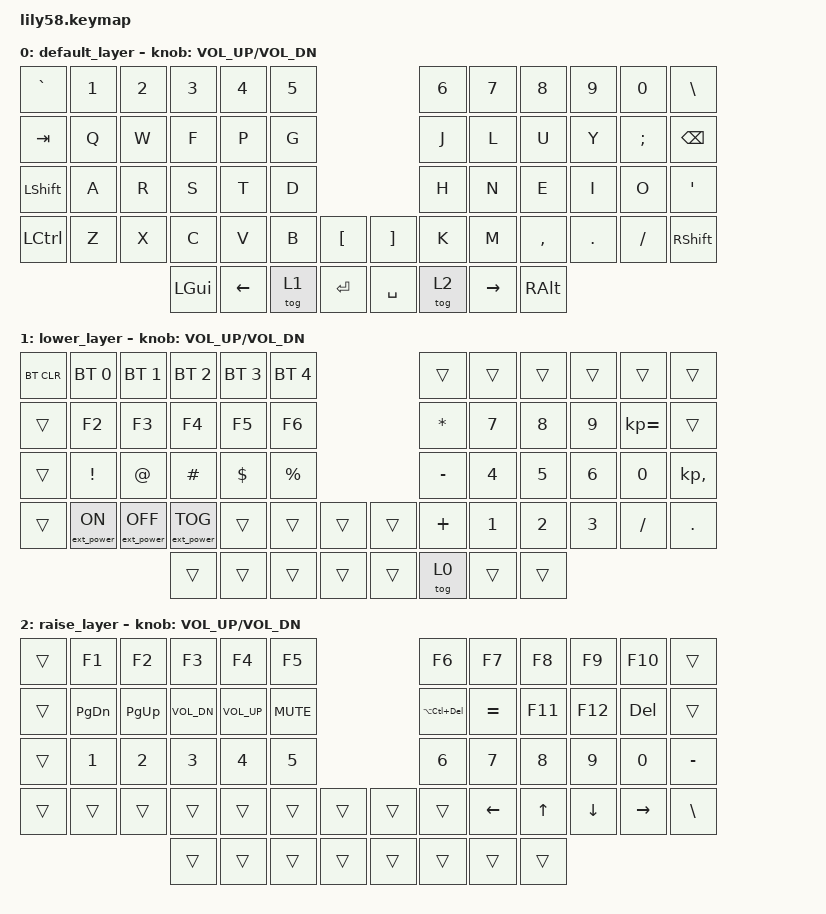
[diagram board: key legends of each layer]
/*
 * Copyright (c) 2020 The ZMK Contributors
 *
 * SPDX-License-Identifier: MIT
 */

#include <behaviors.dtsi>
#include <dt-bindings/zmk/bt.h>
#include <dt-bindings/zmk/ext_power.h>
#include <dt-bindings/zmk/keys.h>

/ {
    combos {
        compatible = "zmk,combos";

        Escape {
            bindings = <&kp ESCAPE>;
            key-positions = <12 13>;
        };

        Delete {
            bindings = <&kp DELETE>;
            key-positions = <22 23>;
        };
    };

    keymap {
        compatible = "zmk,keymap";

        default_layer {
            // ------------------------------------------------------------------------------------------------------------
            // |  ESC  |  1  |  2  |  3   |  4   |  5   |                   |  6   |  7    |  8    |  9   |   0   |   `   |
            // |  TAB  |  Q  |  W  |  E   |  R   |  T   |                   |  Y   |  U    |  I    |  O   |   P   |   -   |
            // |  CTRL |  A  |  S  |  D   |  F   |  G   |                   |  H   |  J    |  K    |  L   |   ;   |   '   |
            // | SHIFT |  Z  |  X  |  C   |  V   |  B   |   "["  |  |  "]"  |  N   |  M    |  ,    |  .   |   /   | SHIFT |
            //                     | ALT  | GUI  | LOWER|  SPACE |  | ENTER | RAISE| BSPC  | GUI   |

            bindings = <
&kp GRAVE   &kp N1  &kp N2  &kp N3        &kp N4    &kp N5                          &kp N6  &kp N7     &kp N8         &kp N9   &kp N0         &kp BACKSLASH
&kp TAB     &kp Q   &kp W   &kp F         &kp P     &kp G                           &kp J   &kp L      &kp U          &kp Y    &kp SEMICOLON  &kp BACKSPACE
&kp LSHIFT  &kp A   &kp R   &kp S         &kp T     &kp D                           &kp H   &kp N      &kp E          &kp I    &kp O          &kp SQT
&kp LCTRL   &kp Z   &kp X   &kp C         &kp V     &kp B   &kp LBKT     &kp RBKT   &kp K   &kp M      &kp COMMA      &kp DOT  &kp FSLH       &kp RSHFT
                            &kp LEFT_GUI  &kp LEFT  &tog 1  &kp ENTER    &kp SPACE  &tog 2  &kp RIGHT  &kp RIGHT_ALT
            >;

            sensor-bindings = <&inc_dec_kp C_VOL_UP C_VOL_DN>;
        };

        lower_layer {
            // ------------------------------------------------------------------------------------------------------------
            // | BTCLR | BT1 | BT2 |  BT3 |  BT4 |  BT5 |                   |      |       |       |      |       |       |
            // |  F1   |  F2 |  F3 |  F4  |  F5  |  F6  |                   |  F7  |  F8   |  F9   |  F10 |  F11  |  F12  |
            // |   `   |  !  |  @  |  #   |  $   |  %   |                   |  ^   |  &    |  *    |  (   |   )   |   ~   |
            // |       |     |     |      |      |      |        |  |       |      |  _    |  +    |  {   |   }   |  "|"  |
            //                     |      |      |      |        |  |       |      |       |       |

            bindings = <
&bt BT_CLR  &bt BT_SEL 0      &bt BT_SEL 1       &bt BT_SEL 2       &bt BT_SEL 3  &bt BT_SEL 4                    &trans        &trans        &trans        &trans        &trans        &trans
&trans      &kp F2            &kp F3             &kp F4             &kp F5        &kp F6                          &kp ASTERISK  &kp NUMBER_7  &kp NUMBER_8  &kp NUMBER_9  &kp KP_EQUAL  &trans
&trans      &kp EXCL          &kp AT             &kp HASH           &kp DOLLAR    &kp PRCNT                       &kp MINUS     &kp NUMBER_4  &kp NUMBER_5  &kp NUMBER_6  &kp NUMBER_0  &kp KP_COMMA
&trans      &ext_power EP_ON  &ext_power EP_OFF  &ext_power EP_TOG  &trans        &trans        &trans    &trans  &kp PLUS      &kp NUMBER_1  &kp NUMBER_2  &kp NUMBER_3  &kp SLASH     &kp PERIOD
                                                 &trans             &trans        &trans        &trans    &trans  &tog 0        &trans        &trans
            >;

            sensor-bindings = <&inc_dec_kp C_VOL_UP C_VOL_DN>;
        };

        raise_layer {
            // ------------------------------------------------------------------------------------------------------------
            // |       |     |     |      |      |      |                   |      |       |       |      |       |       |
            // |   `   |  1  |  2  |  3   |  4   |  5   |                   |  6   |   7   |   8   |  9   |   0   |       |
            // |   F1  |  F2 |  F3 |  F4  |  F5  |  F6  |                   |      |   <-  |   v   |  ^   |  ->   |       |
            // |   F7  |  F8 |  F9 |  F10 |  F11 |  F12 |        |  |       |  +   |   -   |   =   |  [   |   ]   |   \   |
            //                     |      |      |      |        |  |       |      |       |       |

            bindings = <
&trans  &kp F1         &kp F2        &kp F3        &kp F4           &kp F5                          &kp F6           &kp F7          &kp F8        &kp F9          &kp F10          &trans
&trans  &kp PAGE_DOWN  &kp PAGE_UP   &kp C_VOL_DN  &kp C_VOLUME_UP  &kp K_MUTE                      &kp LA(LC(DEL))  &kp EQUAL       &kp F11       &kp F12         &kp DELETE       &trans
&trans  &kp NUMBER_1   &kp NUMBER_2  &kp NUMBER_3  &kp NUMBER_4     &kp NUMBER_5                    &kp NUMBER_6     &kp NUMBER_7    &kp NUMBER_8  &kp NUMBER_9    &kp NUMBER_0     &kp MINUS
&trans  &trans         &trans        &trans        &trans           &trans        &trans    &trans  &trans           &kp LEFT_ARROW  &kp UP_ARROW  &kp DOWN_ARROW  &kp RIGHT_ARROW  &kp BSLH
                                     &trans        &trans           &trans        &trans    &trans  &trans           &trans          &trans
            >;

            sensor-bindings = <&inc_dec_kp C_VOL_UP C_VOL_DN>;
        };
    };
};
